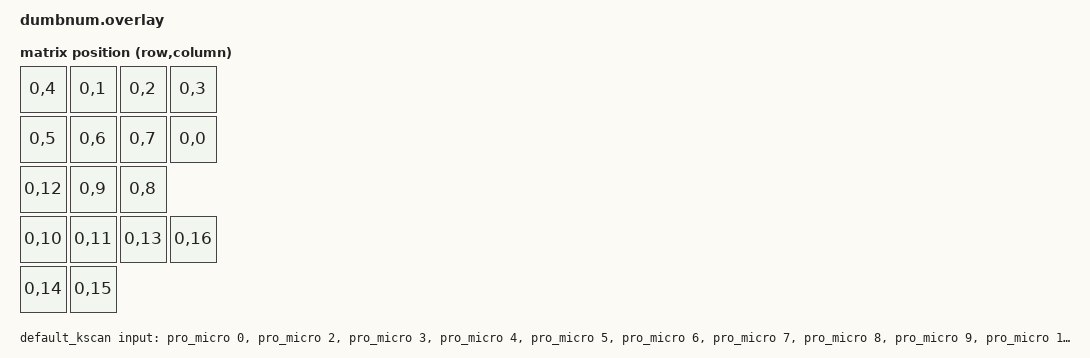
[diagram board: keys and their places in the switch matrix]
/{
    chosen {
        zmk,kscan = &default_kscan;
    };

    default_kscan: kscan {
        compatible = "zmk,kscan-gpio-direct";
        input-gpios = 
            <&pro_micro 0 (GPIO_ACTIVE_LOW | GPIO_PULL_UP)>,
            <&pro_micro 2 (GPIO_ACTIVE_LOW | GPIO_PULL_UP)>,
            <&pro_micro 3 (GPIO_ACTIVE_LOW | GPIO_PULL_UP)>,
            <&pro_micro 4 (GPIO_ACTIVE_LOW | GPIO_PULL_UP)>,
            <&pro_micro 5 (GPIO_ACTIVE_LOW | GPIO_PULL_UP)>,
            <&pro_micro 6 (GPIO_ACTIVE_LOW | GPIO_PULL_UP)>,
            <&pro_micro 7 (GPIO_ACTIVE_LOW | GPIO_PULL_UP)>,
            <&pro_micro 8 (GPIO_ACTIVE_LOW | GPIO_PULL_UP)>,
            <&pro_micro 9 (GPIO_ACTIVE_LOW | GPIO_PULL_UP)>,
            <&pro_micro 10 (GPIO_ACTIVE_LOW | GPIO_PULL_UP)>,
            <&pro_micro 14 (GPIO_ACTIVE_LOW | GPIO_PULL_UP)>,
            <&pro_micro 15 (GPIO_ACTIVE_LOW | GPIO_PULL_UP)>,
            <&pro_micro 16 (GPIO_ACTIVE_LOW | GPIO_PULL_UP)>,
            <&pro_micro 18 (GPIO_ACTIVE_LOW | GPIO_PULL_UP)>,
            <&pro_micro 19 (GPIO_ACTIVE_LOW | GPIO_PULL_UP)>,
            <&pro_micro 20 (GPIO_ACTIVE_LOW | GPIO_PULL_UP)>,
            <&pro_micro 21 (GPIO_ACTIVE_LOW | GPIO_PULL_UP)>;
    };

    default_transform: matrix_transform {
        compatible = "zmk,matrix-transform";
        rows = <0>;
        columns = <17>;
        // ┌───┬───┬───┬───┐
        // │NUM│ / │ * │ - │
        // ├───┼───┼───┼───┤
        // │ 7 │ 8 │ 9 │ + │
        // ├───┼───┼───┤   │
        // │ 4 │ 5 │ 6 │   │
        // ├───┼───┼───┼───┤
        // │ 1 │ 2 │ 3 │RET│
        // ├───┴───┼───┤   │
        // │ 0     │ . │   │
        // └───────┴───┴───┘
        map = <
            RC(0,4) RC(0,1) RC(0,2) RC(0,3)
            RC(0,5) RC(0,6) RC(0,7) RC(0,0)
            RC(0,12) RC(0,9) RC(0,8)
            RC(0,10) RC(0,11) RC(0,13) RC(0,16)
            RC(0,14) RC(0,15)
        >;
    };
};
